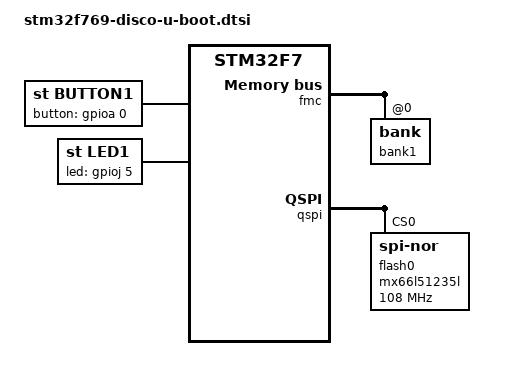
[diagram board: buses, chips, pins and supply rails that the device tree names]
// SPDX-License-Identifier: GPL-2.0+

#include <stm32f7-u-boot.dtsi>
/{
	chosen {
		bootargs = "root=/dev/ram rdinit=/linuxrc";
	};

	aliases {
		/* Aliases for gpios so as to use sequence */
		gpio0 = &gpioa;
		gpio1 = &gpiob;
		gpio2 = &gpioc;
		gpio3 = &gpiod;
		gpio4 = &gpioe;
		gpio5 = &gpiof;
		gpio6 = &gpiog;
		gpio7 = &gpioh;
		gpio8 = &gpioi;
		gpio9 = &gpioj;
		gpio10 = &gpiok;
		mmc0 = &sdio2;
		spi0 = &qspi;
	};

	button1 {
		compatible = "st,button1";
		button-gpio = <&gpioa 0 0>;
	};

	led1 {
		compatible = "st,led1";
		led-gpio = <&gpioj 5 0>;
	};
};

&fmc {
	/* Memory configuration from sdram datasheet MT48LC_4M32_B2B5-6A */
	bank1: bank@0 {
		u-boot,dm-pre-reloc;
		st,sdram-control = /bits/ 8 <NO_COL_8
					     NO_ROW_12
					     MWIDTH_32
					     BANKS_4
					     CAS_3
					     SDCLK_2
					     RD_BURST_EN
					     RD_PIPE_DL_0>;
		st,sdram-timing = /bits/ 8 <TMRD_2
					    TXSR_6
					    TRAS_4
					    TRC_6
					    TWR_2
					    TRP_2
					    TRCD_2>;
		/* refcount = (64msec/total_row_sdram)*freq - 20 */
		st,sdram-refcount = < 1542 >;
	};
};

&pinctrl {
	ethernet_mii: mii@0 {
		pins {
			pinmux = <STM32_PINMUX('G',13, AF11)>, /* ETH_RMII_TXD0 */
				 <STM32_PINMUX('G',14, AF11)>, /* ETH_RMII_TXD1 */
				 <STM32_PINMUX('G',11, AF11)>, /* ETH_RMII_TX_EN */
				 <STM32_PINMUX('A', 2, AF11)>, /* ETH_MDIO */
				 <STM32_PINMUX('C', 1, AF11)>, /* ETH_MDC */
				 <STM32_PINMUX('A', 1, AF11)>, /* ETH_RMII_REF_CLK */
				 <STM32_PINMUX('A', 7, AF11)>, /* ETH_RMII_CRS_DV */
				 <STM32_PINMUX('C', 4, AF11)>, /* ETH_RMII_RXD0 */
				 <STM32_PINMUX('C', 5, AF11)>; /* ETH_RMII_RXD1 */
			slew-rate = <2>;
		};
	};

	fmc_pins: fmc@0 {
		pins {
			pinmux = <STM32_PINMUX('I',10, AF12)>, /* D31 */
				 <STM32_PINMUX('I', 9, AF12)>, /* D30 */
				 <STM32_PINMUX('I', 7, AF12)>, /* D29 */
				 <STM32_PINMUX('I', 6, AF12)>, /* D28 */
				 <STM32_PINMUX('I', 3, AF12)>, /* D27 */
				 <STM32_PINMUX('I', 2, AF12)>, /* D26 */
				 <STM32_PINMUX('I', 1, AF12)>, /* D25 */
				 <STM32_PINMUX('I', 0, AF12)>, /* D24 */
				 <STM32_PINMUX('H',15, AF12)>, /* D23 */
				 <STM32_PINMUX('H',14, AF12)>, /* D22 */
				 <STM32_PINMUX('H',13, AF12)>, /* D21 */
				 <STM32_PINMUX('H',12, AF12)>, /* D20 */
				 <STM32_PINMUX('H',11, AF12)>, /* D19 */
				 <STM32_PINMUX('H',10, AF12)>, /* D18 */
				 <STM32_PINMUX('H', 9, AF12)>, /* D17 */
				 <STM32_PINMUX('H', 8, AF12)>, /* D16 */

				 <STM32_PINMUX('D',10, AF12)>, /* D15 */
				 <STM32_PINMUX('D', 9, AF12)>, /* D14 */
				 <STM32_PINMUX('D', 8, AF12)>, /* D13 */
				 <STM32_PINMUX('E',15, AF12)>, /* D12 */
				 <STM32_PINMUX('E',14, AF12)>, /* D11 */
				 <STM32_PINMUX('E',13, AF12)>, /* D10 */
				 <STM32_PINMUX('E',12, AF12)>, /* D9 */
				 <STM32_PINMUX('E',11, AF12)>, /* D8 */
				 <STM32_PINMUX('E',10, AF12)>, /* D7 */
				 <STM32_PINMUX('E', 9, AF12)>, /* D6 */
				 <STM32_PINMUX('E', 8, AF12)>, /* D5 */
				 <STM32_PINMUX('E', 7, AF12)>, /* D4 */
				 <STM32_PINMUX('D', 1, AF12)>, /* D3 */
				 <STM32_PINMUX('D', 0, AF12)>, /* D2 */
				 <STM32_PINMUX('D',15, AF12)>, /* D1 */
				 <STM32_PINMUX('D',14, AF12)>, /* D0 */

				 <STM32_PINMUX('I', 5, AF12)>, /* NBL3 */
				 <STM32_PINMUX('I', 4, AF12)>, /* NBL2 */
				 <STM32_PINMUX('E', 1, AF12)>, /* NBL1 */
				 <STM32_PINMUX('E', 0, AF12)>, /* NBL0 */

				 <STM32_PINMUX('G', 5, AF12)>, /* BA1 */
				 <STM32_PINMUX('G', 4, AF12)>, /* BA0 */

				 <STM32_PINMUX('G', 1, AF12)>, /* A11 */
				 <STM32_PINMUX('G', 0, AF12)>, /* A10 */
				 <STM32_PINMUX('F',15, AF12)>, /* A9 */
				 <STM32_PINMUX('F',14, AF12)>, /* A8 */
				 <STM32_PINMUX('F',13, AF12)>, /* A7 */
				 <STM32_PINMUX('F',12, AF12)>, /* A6 */
				 <STM32_PINMUX('F', 5, AF12)>, /* A5 */
				 <STM32_PINMUX('F', 4, AF12)>, /* A4 */
				 <STM32_PINMUX('F', 3, AF12)>, /* A3 */
				 <STM32_PINMUX('F', 2, AF12)>, /* A2 */
				 <STM32_PINMUX('F', 1, AF12)>, /* A1 */
				 <STM32_PINMUX('F', 0, AF12)>, /* A0 */

				 <STM32_PINMUX('H', 3, AF12)>, /* SDNE0 */
				 <STM32_PINMUX('H', 5, AF12)>, /* SDNWE */
				 <STM32_PINMUX('F',11, AF12)>, /* SDNRAS */
				 <STM32_PINMUX('G',15, AF12)>, /* SDNCAS */
				 <STM32_PINMUX('H', 2, AF12)>, /* SDCKE0 */
				 <STM32_PINMUX('G', 8, AF12)>; /* SDCLK> */
			slew-rate = <2>;
		};
	};

	qspi_pins: qspi@0 {
		pins {
			pinmux = <STM32_PINMUX('B', 2, AF9)>, /* CLK */
				 <STM32_PINMUX('B', 6, AF10)>, /* BK1_NCS */
				 <STM32_PINMUX('C', 9, AF9)>, /* BK1_IO0 */
				 <STM32_PINMUX('C',10, AF9)>, /* BK1_IO1 */
				 <STM32_PINMUX('D',13, AF9)>, /* BK1_IO3 */
				 <STM32_PINMUX('E', 2, AF9)>; /* BK1_IO2 */
			slew-rate = <2>;
		};
	};

	usart1_pins_a: usart1@0	{
		u-boot,dm-pre-reloc;
		pins1 {
			u-boot,dm-pre-reloc;
		};
		pins2 {
			u-boot,dm-pre-reloc;
		};
	};
};

&qspi {
	reg = <0xA0001000 0x1000>, <0x90000000 0x4000000>;
	flash0: mx66l51235l {
		#address-cells = <1>;
		#size-cells = <1>;
		compatible = "jedec,spi-nor";
		spi-max-frequency = <108000000>;
		spi-tx-bus-width = <4>;
		spi-rx-bus-width = <4>;
		reg = <0>;
	};
};
